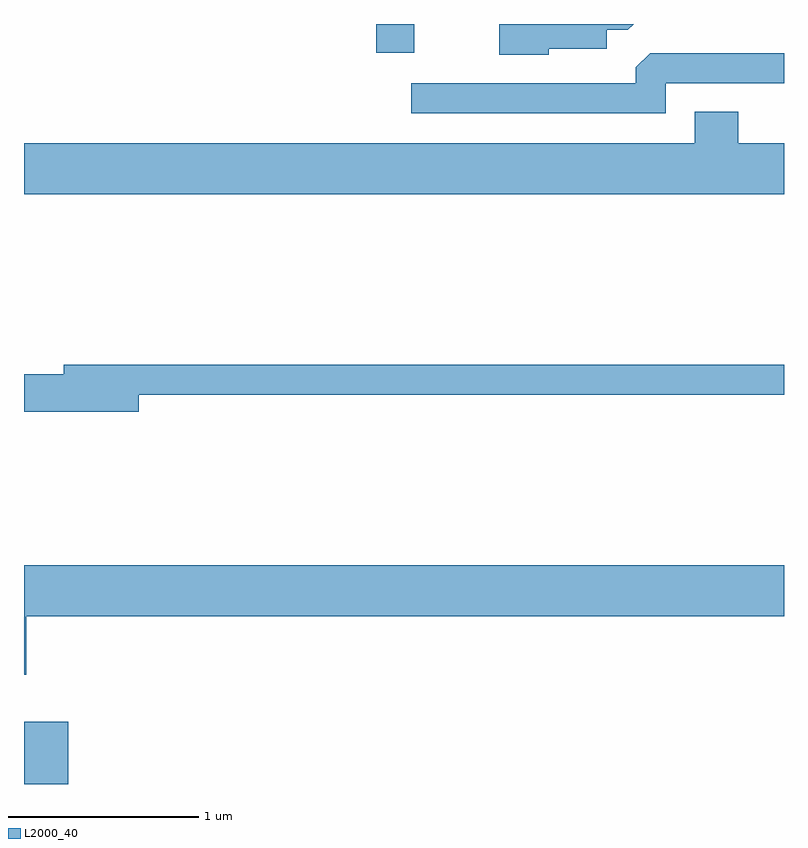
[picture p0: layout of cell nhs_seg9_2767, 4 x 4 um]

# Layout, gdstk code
import gdstk
lib = gdstk.Library(unit=1e-6, precision=1e-09)
def R(c, l, rs):  # rectangles x0, y0, x1, y1
    for r in rs: c.add(gdstk.rectangle(r[:2], r[2:], *l))
def P(c, l, *ps):  # polygons
    for p in ps: c.add(gdstk.Polygon(p, *l))
L2000_40 = (2000, 40)

nhs_seg9_2767 = lib.new_cell('nhs_seg9_2767')
R(nhs_seg9_2767, L2000_40, [(265.611,2046.432,265.844,2046.759), (267.466,2050.281,267.664,2050.432)])
P(nhs_seg9_2767, L2000_40, [(268.374,2050.301),(268.679,2050.301),(268.679,2050.401),(268.789,2050.401),(268.82,2050.432),(268.111,2050.432),(268.111,2050.271),(268.374,2050.271)],
  [(268.989,2050.121),(269.611,2050.121),(269.611,2050.279),(268.907,2050.279),(268.831,2050.204),(268.831,2050.119),(267.648,2050.119),(267.648,2049.961),(268.989,2049.961)],
  [(269.611,2049.804),(269.369,2049.804),(269.369,2049.969),(269.141,2049.969),(269.141,2049.804),(265.611,2049.804),(265.611,2049.536),(269.611,2049.536)],
  [(266.214,2048.481),(269.611,2048.481),(269.611,2048.639),(265.821,2048.639),(265.821,2048.589),(265.611,2048.589),(265.611,2048.391),(266.214,2048.391)],
  [(265.624,2047.316),(269.611,2047.316),(269.611,2047.584),(265.611,2047.584),(265.611,2047.006),(265.624,2047.006)])

lib.write_gds('nhs_seg9_2767.gds')
